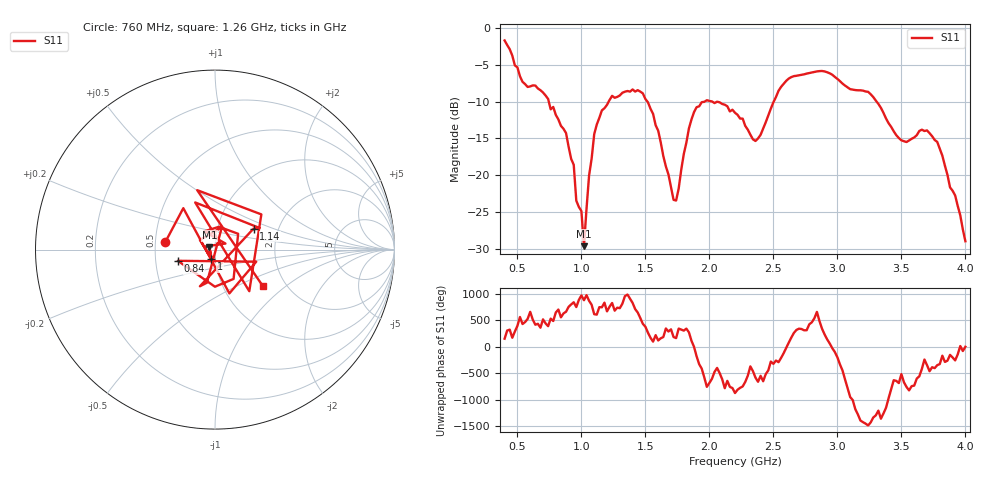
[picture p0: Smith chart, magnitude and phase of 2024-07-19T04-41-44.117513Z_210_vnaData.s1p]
!Created with skrf (http://scikit-rf.org).
# Hz S RI R 50.0
!freq ReS11 ImS11
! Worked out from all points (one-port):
!   181 points, 400 MHz to 4 GHz, reference 50 ohm
!   lowest |S11| = -29.6 dB at 1.02 GHz (marker M1), VSWR 1.07, Z = 47 + j1.11 ohm
!   |S11| at or under -10 dB: 745 MHz to 1.213 GHz (468.4 MHz wide, 47.8 % of centre); 2.022 GHz to 2.503 GHz (480.8 MHz wide, 21.3 % of centre); 3.306 GHz to end of sweep (the widest 3 of 4)
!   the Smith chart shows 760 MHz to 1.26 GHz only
!   S11 on the Smith chart (normalised r, x): 760 MHz: 0.56, +0.05; 840 MHz: 0.65, -0.09; 1 GHz: 0.96, -0.10; 1.14 GHz: 1.49, +0.37; 1.26 GHz: 1.53, -0.70
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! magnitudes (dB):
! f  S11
! 400 MHz  -1.7
! 540 MHz  -7.3
! 760 MHz  -11.0
! 840 MHz  -13.3
! 860 MHz  -13.7
! 940 MHz  -18.6
! 960 MHz  -23.4
! 1 GHz  -24.8
! 1.02 GHz  -29.6
! 1.06 GHz  -20.0
! 1.1 GHz  -14.4
! 1.14 GHz  -12.2
! 1.26 GHz  -9.5
! 1.3 GHz  -9.2
! 1.48 GHz  -8.9
! 1.6 GHz  -14.0
! 1.72 GHz  -23.3
! 1.76 GHz  -21.8
! 1.84 GHz  -13.6
! 1.9 GHz  -10.8
! 2.2 GHz  -11.5
! 2.36 GHz  -15.3
! 2.66 GHz  -6.5
! 3.1 GHz  -8.3
! 3.24 GHz  -8.7
! 3.56 GHz  -15.3
! 3.78 GHz  -15.5
! 4 GHz  -28.9
